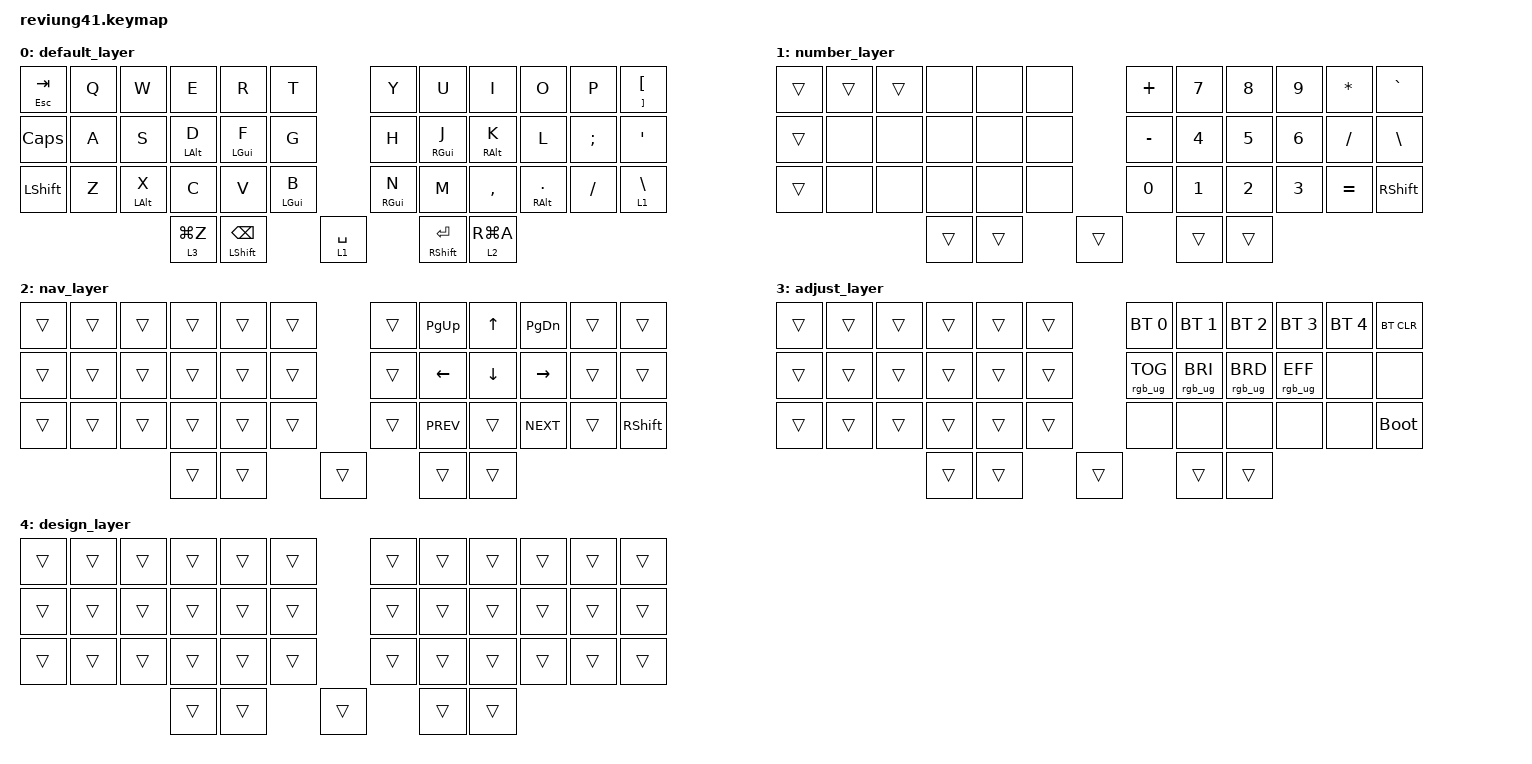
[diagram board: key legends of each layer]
/*
 * Copyright (c) 2020 The ZMK Contributors
 *
 * SPDX-License-Identifier: MIT
 */

#include <behaviors.dtsi>
#include <dt-bindings/zmk/bt.h>
#include <dt-bindings/zmk/keys.h>
#include <dt-bindings/zmk/rgb.h>

&mt {
    flavor = "tap-preferred";
    tapping_term_ms = <200>;
};

/ {
    combos {
        compatible = "zmk,combos";

        adj_layer {
            bindings = <&mo 3>;
            key-positions = <37 39>;
        };
    };

    keymap {
        compatible = "zmk,keymap";

        //default_layer BEGIN

        default_layer {
            bindings = <
 &mt ESC TAB  &kp Q       &kp W        &kp E                &kp R       &kp T                    &kp Y                &kp U        &kp I         &kp O     &kp P  &mt RIGHT_BRACKET LEFT_BRACKET
&kp CAPSLOCK  &kp A       &kp S   &mt LALT D           &mt LGUI F       &kp G                    &kp H           &mt RGUI J   &mt RALT K         &kp L  &kp SEMI                &kp SINGLE_QUOTE
  &kp LSHIFT  &kp Z  &mt LALT X        &kp C                &kp V  &mt LGUI B               &mt RGUI N                &kp M    &kp COMMA  &mt RALT DOT  &kp FSLH                 &lt 1 BACKSLASH
                                 &lt 3 LG(Z)  &mt LEFT_SHIFT BSPC              &lt 1 SPACE              &mt RIGHT_SHIFT RET  &lt 2 RG(A)
            >;
        };

        //LAYER ENDS
        //number_layer BEGIN

        number_layer {
            bindings = <
&trans  &trans  &trans   &none   &none  &none           &kp PLUS  &kp N7  &kp N8  &kp N9   &kp STAR      &kp GRAVE
&trans   &none   &none   &none   &none  &none          &kp MINUS  &kp N4  &kp N5  &kp N6  &kp SLASH  &kp BACKSLASH
&trans   &none   &none   &none   &none  &none             &kp N0  &kp N1  &kp N2  &kp N3  &kp EQUAL     &kp RSHIFT
                        &trans  &trans         &trans             &trans  &trans
            >;
        };

        //LAYER ENDS
        //nav_layer BEGIN

        nav_layer {
            bindings = <
&trans  &trans  &trans  &trans  &trans  &trans          &trans   &kp PG_UP    &kp UP   &kp PG_DN  &trans     &trans
&trans  &trans  &trans  &trans  &trans  &trans          &trans    &kp LEFT  &kp DOWN   &kp RIGHT  &trans     &trans
&trans  &trans  &trans  &trans  &trans  &trans          &trans  &kp C_PREV    &trans  &kp C_NEXT  &trans  &kp RSHFT
                        &trans  &trans          &trans              &trans    &trans
            >;
        };

        //LAYER ENDS
        //adjust_layer BEGIN

        adjust_layer {
            bindings = <
&trans  &trans  &trans  &trans  &trans  &trans             &bt BT_SEL 0     &bt BT_SEL 1     &bt BT_SEL 2     &bt BT_SEL 3  &bt BT_SEL 4   &bt BT_CLR
&trans  &trans  &trans  &trans  &trans  &trans          &rgb_ug RGB_TOG  &rgb_ug RGB_BRI  &rgb_ug RGB_BRD  &rgb_ug RGB_EFF         &none        &none
&trans  &trans  &trans  &trans  &trans  &trans                    &none            &none            &none            &none         &none  &bootloader
                        &trans  &trans          &trans                            &trans           &trans
            >;
        };

        //LAYER ENDS
        //design_layer BEGIN

        design_layer {
            bindings = <
&trans  &trans  &trans  &trans  &trans  &trans          &trans  &trans  &trans  &trans  &trans  &trans
&trans  &trans  &trans  &trans  &trans  &trans          &trans  &trans  &trans  &trans  &trans  &trans
&trans  &trans  &trans  &trans  &trans  &trans          &trans  &trans  &trans  &trans  &trans  &trans
                        &trans  &trans          &trans          &trans  &trans
            >;
        };
    };
};
